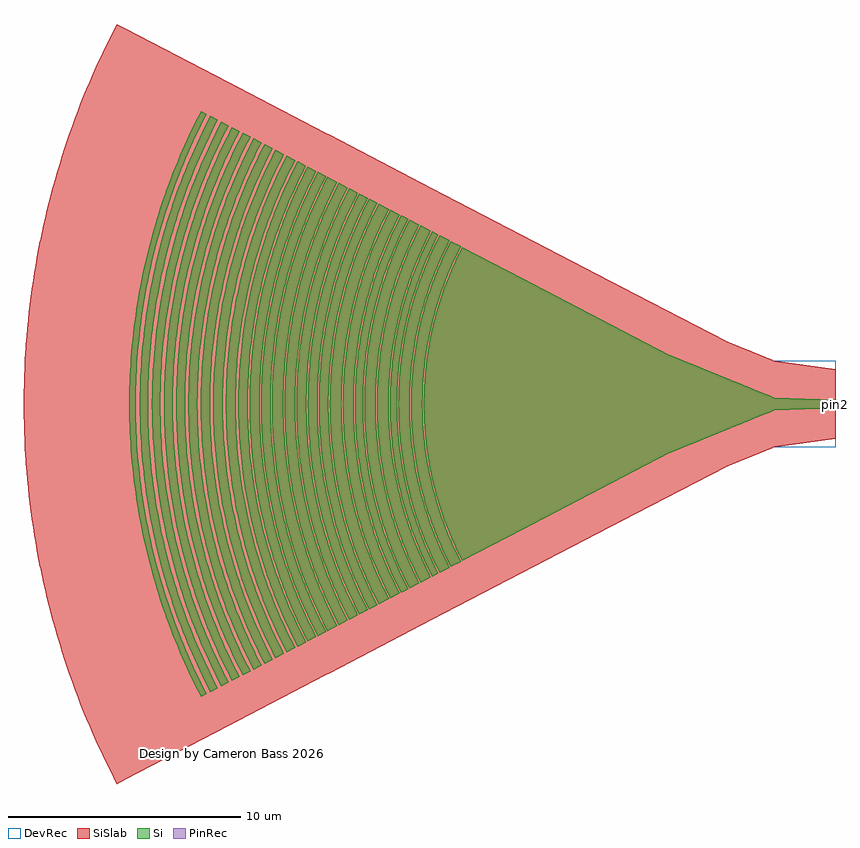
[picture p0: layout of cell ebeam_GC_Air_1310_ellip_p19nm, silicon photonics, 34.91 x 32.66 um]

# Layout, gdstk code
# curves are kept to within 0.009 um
import gdstk
lib = gdstk.Library(unit=1e-6, precision=1e-09)
def P(c, l, *ps):  # polygons
    for p in ps: c.add(gdstk.Polygon(p, *l))
Si = (1, 0)
PinRec = (1, 10)
SiSlab = (2, 0)
DevRec = (68, 0)

ebeam_gc_air_1310_ellip_ = lib.new_cell('ebeam_GC_Air_1310_ellip_p19nm')
P(ebeam_gc_air_1310_ellip_, Si, [(-16.056,-6.742),(-16.427,-5.977),(-16.802,-5.06),(-17.031,-4.39),(-17.296,-3.436),(-17.473,-2.604),(-17.6,-1.765),(-17.678,-0.919),(-17.706,-0.071),(-17.686,0.778),(-17.616,1.625),(-17.497,2.465),(-17.33,3.298),(-17.113,4.119),(-16.802,5.06),(-16.427,5.977),(-16.056,6.742),(-7.085,2.075),(-3.27,0.519),(-2.87,0.368),(-2.671,0.275),(0,0.175),(0,-0.175),(-2.671,-0.275),(-2.854,-0.361),(-3.208,-0.494),(-7.13,-2.094)],
  [(-16.548,-6.997),(-16.93,-6.207),(-17.268,-5.392),(-17.557,-4.559),(-17.797,-3.711),(-17.989,-2.85),(-18.129,-1.978),(-18.228,-0.955),(-18.258,-0.073),(-18.237,0.808),(-18.164,1.687),(-18.041,2.56),(-17.867,3.425),(-17.6,4.418),(-17.319,5.255),(-17.161,5.666),(-16.93,6.207),(-16.548,6.998),(-16.111,6.77),(-16.484,6.002),(-16.81,5.214),(-17.09,4.409),(-17.323,3.588),(-17.533,2.617),(-17.661,1.773),(-17.748,0.782),(-17.768,0.071),(-17.748,-0.782),(-17.661,-1.773),(-17.533,-2.616),(-17.357,-3.451),(-17.132,-4.274),(-16.86,-5.081),(-16.484,-6.002),(-16.111,-6.77)],
  [(-17.029,-7.248),(-17.424,-6.431),(-17.774,-5.587),(-18.073,-4.724),(-18.322,-3.845),(-18.52,-2.953),(-18.665,-2.051),(-18.758,-1.141),(-18.785,-0.685),(-18.799,-0.076),(-18.777,0.837),(-18.702,1.748),(-18.574,2.652),(-18.394,3.548),(-18.118,4.578),(-17.774,5.587),(-17.424,6.431),(-17.029,7.248),(-16.602,7.026),(-16.864,6.501),(-17.047,6.097),(-17.377,5.276),(-17.66,4.436),(-17.894,3.582),(-18.076,2.717),(-18.209,1.841),(-18.29,0.959),(-18.32,0.074),(-18.299,-0.811),(-18.209,-1.841),(-18.076,-2.717),(-17.894,-3.582),(-17.66,-4.436),(-17.377,-5.276),(-17.047,-6.097),(-16.864,-6.501),(-16.602,-7.026)],
  [(-17.349,-7.415),(-17.753,-6.579),(-18.111,-5.716),(-18.417,-4.833),(-18.672,-3.934),(-18.875,-3.021),(-18.956,-2.56),(-19.043,-1.943),(-19.129,-1.012),(-19.16,-0.078),(-19.138,0.857),(-19.061,1.788),(-18.93,2.714),(-18.746,3.63),(-18.508,4.534),(-18.37,4.981),(-18.166,5.57),(-17.998,6.006),(-17.753,6.58),(-17.349,7.415),(-17.084,7.276),(-17.543,6.316),(-17.937,5.323),(-18.086,4.888),(-18.305,4.156),(-18.455,3.563),(-18.551,3.114),(-18.684,2.361),(-18.78,1.603),(-18.839,0.841),(-18.861,0.077),(-18.846,-0.688),(-18.795,-1.45),(-18.684,-2.361),(-18.551,-3.114),(-18.455,-3.563),(-18.305,-4.155),(-18.178,-4.596),(-17.988,-5.178),(-17.776,-5.751),(-17.543,-6.316),(-17.084,-7.276)],
  [(-17.845,-7.673),(-18.262,-6.809),(-18.515,-6.216),(-18.689,-5.765),(-18.997,-4.848),(-19.251,-3.914),(-19.452,-2.967),(-19.596,-2.011),(-19.685,-1.047),(-19.718,-0.08),(-19.694,0.887),(-19.615,1.851),(-19.48,2.809),(-19.289,3.757),(-19.131,4.383),(-18.997,4.848),(-18.689,5.765),(-18.515,6.216),(-18.262,6.81),(-17.845,7.673),(-17.404,7.443),(-17.81,6.605),(-18.168,5.738),(-18.477,4.851),(-18.733,3.949),(-18.964,2.878),(-19.104,1.951),(-19.168,1.328),(-19.2,0.86),(-19.222,0.078),(-19.2,-0.86),(-19.168,-1.328),(-19.104,-1.951),(-18.964,-2.878),(-18.77,-3.797),(-18.523,-4.703),(-18.38,-5.149),(-18.168,-5.738),(-17.81,-6.605),(-17.404,-7.443)],
  [(-18.325,-7.923),(-18.756,-7.031),(-19.017,-6.418),(-19.196,-5.953),(-19.515,-5.006),(-19.777,-4.042),(-19.984,-3.064),(-20.134,-2.076),(-20.225,-1.082),(-20.259,-0.083),(-20.235,0.916),(-20.153,1.911),(-20.041,2.736),(-19.954,3.229),(-19.817,3.88),(-19.515,5.006),(-19.196,5.953),(-19.017,6.418),(-18.756,7.032),(-18.325,7.923),(-17.902,7.702),(-18.321,6.835),(-18.513,6.39),(-18.748,5.786),(-19.058,4.866),(-19.314,3.929),(-19.514,2.978),(-19.659,2.019),(-19.749,1.052),(-19.782,0.081),(-19.758,-0.89),(-19.678,-1.858),(-19.542,-2.82),(-19.314,-3.928),(-19.058,-4.865),(-18.748,-5.786),(-18.386,-6.688),(-17.902,-7.702)],
  [(-18.687,-8.111),(-19.128,-7.198),(-19.52,-6.253),(-19.855,-5.287),(-20.047,-4.633),(-20.174,-4.137),(-20.386,-3.137),(-20.539,-2.125),(-20.633,-1.107),(-20.667,-0.085),(-20.643,0.937),(-20.559,1.957),(-20.416,2.969),(-20.214,3.972),(-19.954,4.961),(-19.803,5.45),(-19.579,6.094),(-19.197,7.043),(-18.986,7.508),(-18.687,8.111),(-18.38,7.952),(-18.814,7.057),(-19.196,6.131),(-19.526,5.183),(-19.799,4.219),(-19.914,3.731),(-20.046,3.075),(-20.196,2.085),(-20.288,1.086),(-20.322,0.084),(-20.298,-0.919),(-20.233,-1.752),(-20.128,-2.581),(-19.983,-3.404),(-19.878,-3.894),(-19.714,-4.542),(-19.526,-5.183),(-19.368,-5.66),(-18.947,-6.751),(-18.674,-7.361),(-18.38,-7.951)],
  [(-19.145,-8.35),(-19.599,-7.411),(-20.002,-6.438),(-20.347,-5.443),(-20.634,-4.43),(-20.862,-3.403),(-21.03,-2.362),(-21.108,-1.665),(-21.148,-1.14),(-21.184,-0.088),(-21.174,0.615),(-21.148,1.14),(-21.052,2.188),(-20.894,3.229),(-20.676,4.259),(-20.399,5.276),(-20.064,6.274),(-19.67,7.251),(-19.453,7.729),(-19.145,8.35),(-18.743,8.14),(-19.187,7.224),(-19.454,6.594),(-19.638,6.115),(-19.966,5.142),(-20.237,4.153),(-20.448,3.149),(-20.602,2.134),(-20.696,1.112),(-20.731,0.086),(-20.706,-0.941),(-20.622,-1.964),(-20.478,-2.98),(-20.384,-3.484),(-20.237,-4.153),(-19.966,-5.142),(-19.638,-6.115),(-19.256,-7.067),(-19.044,-7.535),(-18.743,-8.14)],
  [(-19.644,-8.61),(-20.11,-7.644),(-20.526,-6.641),(-20.881,-5.615),(-21.177,-4.57),(-21.412,-3.51),(-21.585,-2.437),(-21.695,-1.356),(-21.726,-0.815),(-21.744,-0.09),(-21.718,0.995),(-21.628,2.078),(-21.477,3.153),(-21.263,4.218),(-21.132,4.745),(-20.935,5.442),(-20.589,6.471),(-20.183,7.479),(-19.959,7.973),(-19.644,8.61),(-19.201,8.379),(-19.657,7.436),(-20.061,6.46),(-20.241,5.964),(-20.46,5.294),(-20.738,4.275),(-20.956,3.24),(-21.114,2.197),(-21.211,1.144),(-21.247,0.088),(-21.242,-0.44),(-21.211,-1.144),(-21.114,-2.196),(-20.956,-3.24),(-20.738,-4.275),(-20.46,-5.293),(-20.241,-5.964),(-20.061,-6.46),(-19.657,-7.436),(-19.202,-8.379)],
  [(-20.059,-8.826),(-20.538,-7.834),(-20.964,-6.806),(-21.329,-5.754),(-21.632,-4.683),(-21.873,-3.597),(-22.05,-2.497),(-22.163,-1.39),(-22.195,-0.835),(-22.213,-0.093),(-22.186,1.02),(-22.095,2.129),(-21.939,3.231),(-21.72,4.322),(-21.436,5.399),(-21.214,6.107),(-21.029,6.632),(-20.613,7.665),(-20.383,8.171),(-20.059,8.826),(-19.703,8.64),(-20.172,7.67),(-20.588,6.663),(-20.946,5.634),(-21.243,4.585),(-21.478,3.521),(-21.572,2.985),(-21.674,2.266),(-21.774,1.18),(-21.811,0.091),(-21.785,-0.999),(-21.695,-2.085),(-21.627,-2.625),(-21.511,-3.343),(-21.286,-4.409),(-20.999,-5.461),(-20.652,-6.493),(-20.246,-7.503),(-19.942,-8.164),(-19.703,-8.64)],
  [(-20.479,-9.045),(-20.971,-8.027),(-21.198,-7.503),(-21.408,-6.973),(-21.781,-5.896),(-22.092,-4.799),(-22.339,-3.685),(-22.52,-2.56),(-22.587,-1.993),(-22.649,-1.235),(-22.688,-0.095),(-22.66,1.045),(-22.566,2.182),(-22.407,3.311),(-22.182,4.429),(-21.892,5.532),(-21.664,6.257),(-21.474,6.795),(-21.048,7.853),(-20.731,8.543),(-20.479,9.045),(-20.115,8.855),(-20.597,7.859),(-21.023,6.828),(-21.389,5.773),(-21.599,5.059),(-21.739,4.517),(-21.969,3.426),(-22.136,2.322),(-22.238,1.209),(-22.276,0.093),(-22.249,-1.023),(-22.195,-1.766),(-22.136,-2.321),(-21.969,-3.426),(-21.739,-4.517),(-21.444,-5.596),(-21.214,-6.303),(-21.023,-6.827),(-20.597,-7.859),(-20.116,-8.855)],
  [(-20.914,-9.271),(-21.419,-8.225),(-21.866,-7.146),(-22.249,-6.042),(-22.568,-4.918),(-22.703,-4.348),(-22.857,-3.585),(-23.032,-2.429),(-23.139,-1.265),(-23.178,-0.097),(-23.15,1.071),(-23.111,1.655),(-23.054,2.236),(-22.891,3.393),(-22.66,4.538),(-22.363,5.669),(-22.129,6.412),(-21.935,6.964),(-21.498,8.048),(-21.172,8.755),(-20.914,9.271),(-20.539,9.075),(-21.034,8.052),(-21.471,6.995),(-21.847,5.914),(-22.011,5.367),(-22.205,4.628),(-22.441,3.51),(-22.612,2.379),(-22.717,1.239),(-22.756,0.096),(-22.745,-0.667),(-22.717,-1.239),(-22.612,-2.378),(-22.441,-3.51),(-22.205,-4.628),(-21.903,-5.733),(-21.538,-6.817),(-21.26,-7.527),(-21.034,-8.052),(-20.539,-9.075)],
  [(-21.365,-9.506),(-21.716,-8.798),(-21.963,-8.252),(-22.196,-7.699),(-22.411,-7.141),(-22.793,-6.005),(-23.108,-4.849),(-23.357,-3.676),(-23.536,-2.491),(-23.646,-1.297),(-23.675,-0.699),(-23.686,-0.1),(-23.681,0.499),(-23.657,1.098),(-23.617,1.697),(-23.559,2.293),(-23.484,2.888),(-23.391,3.479),(-23.282,4.069),(-23.155,4.654),(-22.959,5.429),(-22.793,6.004),(-22.411,7.14),(-22.196,7.7),(-21.963,8.253),(-21.716,8.798),(-21.365,9.506),(-20.969,9.299),(-21.477,8.251),(-21.925,7.168),(-22.31,6.06),(-22.478,5.499),(-22.676,4.742),(-22.918,3.596),(-23.094,2.437),(-23.201,1.27),(-23.241,0.098),(-23.213,-1.074),(-23.156,-1.854),(-23.094,-2.437),(-22.918,-3.596),(-22.676,-4.743),(-22.478,-5.499),(-22.31,-6.06),(-21.925,-7.167),(-21.477,-8.251),(-20.969,-9.299)],
  [(-21.853,-9.759),(-22.123,-9.22),(-22.382,-8.662),(-22.627,-8.097),(-22.853,-7.525),(-23.257,-6.363),(-23.592,-5.179),(-23.778,-4.379),(-23.896,-3.775),(-23.997,-3.168),(-24.08,-2.558),(-24.193,-1.332),(-24.223,-0.718),(-24.234,-0.102),(-24.205,1.128),(-24.104,2.355),(-23.997,3.168),(-23.896,3.775),(-23.778,4.379),(-23.641,4.979),(-23.488,5.576),(-23.317,6.166),(-23.13,6.753),(-22.925,7.334),(-22.627,8.097),(-22.382,8.663),(-21.853,9.76),(-21.42,9.534),(-21.686,9.006),(-21.94,8.46),(-22.399,7.35),(-22.605,6.785),(-22.794,6.214),(-23.122,5.058),(-23.381,3.884),(-23.573,2.697),(-23.695,1.501),(-23.73,0.901),(-23.749,0.1),(-23.72,-1.102),(-23.662,-1.901),(-23.598,-2.499),(-23.418,-3.687),(-23.17,-4.864),(-22.853,-6.024),(-22.47,-7.162),(-22.253,-7.723),(-21.94,-8.46),(-21.686,-9.006),(-21.42,-9.534)],
  [(-22.267,-9.975),(-22.808,-8.853),(-23.058,-8.275),(-23.29,-7.691),(-23.572,-6.901),(-23.764,-6.303),(-24.095,-5.089),(-24.234,-4.476),(-24.355,-3.858),(-24.458,-3.238),(-24.543,-2.614),(-24.61,-1.989),(-24.659,-1.362),(-24.689,-0.734),(-24.701,-0.105),(-24.671,1.153),(-24.568,2.406),(-24.489,3.031),(-24.392,3.652),(-24.277,4.271),(-24.095,5.089),(-23.882,5.9),(-23.702,6.503),(-23.29,7.691),(-23.058,8.276),(-22.808,8.854),(-22.267,9.975),(-21.909,9.788),(-22.268,9.062),(-22.523,8.5),(-22.837,7.74),(-23.054,7.161),(-23.254,6.578),(-23.493,5.791),(-23.653,5.194),(-23.838,4.392),(-23.957,3.786),(-24.058,3.177),(-24.187,2.157),(-24.267,1.131),(-24.297,0.103),(-24.277,-0.925),(-24.207,-1.952),(-24.088,-2.974),(-23.879,-4.19),(-23.75,-4.794),(-23.548,-5.592),(-23.377,-6.185),(-23.122,-6.968),(-22.837,-7.739),(-22.604,-8.311),(-22.268,-9.062),(-21.909,-9.788)],
  [(-22.701,-10.201),(-22.985,-9.635),(-23.256,-9.052),(-23.512,-8.461),(-23.749,-7.864),(-24.17,-6.649),(-24.412,-5.826),(-24.572,-5.203),(-24.715,-4.576),(-24.838,-3.945),(-24.944,-3.311),(-25.031,-2.673),(-25.099,-2.034),(-25.149,-1.392),(-25.18,-0.751),(-25.192,-0.107),(-25.186,0.536),(-25.161,1.179),(-25.118,1.821),(-25.056,2.46),(-24.975,3.099),(-24.876,3.734),(-24.715,4.576),(-24.572,5.203),(-24.412,5.826),(-24.233,6.445),(-23.824,7.664),(-23.593,8.263),(-23.343,8.857),(-22.985,9.635),(-22.701,10.201),(-22.325,10.005),(-22.694,9.262),(-22.955,8.687),(-23.276,7.91),(-23.497,7.32),(-23.766,6.522),(-23.946,5.918),(-24.11,5.308),(-24.299,4.489),(-24.491,3.456),(-24.634,2.414),(-24.725,1.366),(-24.756,0.736),(-24.768,0.105),(-24.748,-0.946),(-24.711,-1.576),(-24.656,-2.204),(-24.524,-3.247),(-24.341,-4.283),(-24.209,-4.9),(-24.003,-5.715),(-23.766,-6.522),(-23.497,-7.32),(-23.276,-7.91),(-22.955,-8.687),(-22.694,-9.262),(-22.325,-10.005)],
  [(-23.133,-10.426),(-23.426,-9.842),(-23.703,-9.247),(-23.964,-8.643),(-24.207,-8.033),(-24.638,-6.792),(-24.826,-6.162),(-24.996,-5.528),(-25.148,-4.889),(-25.281,-4.246),(-25.395,-3.598),(-25.49,-2.948),(-25.566,-2.296),(-25.638,-1.422),(-25.67,-0.767),(-25.682,-0.109),(-25.676,0.547),(-25.651,1.204),(-25.606,1.859),(-25.543,2.513),(-25.46,3.166),(-25.359,3.814),(-25.239,4.461),(-25.1,5.102),(-24.765,6.373),(-24.571,7.001),(-24.284,7.829),(-24.047,8.441),(-23.792,9.047),(-23.521,9.645),(-23.133,10.426),(-22.774,10.239),(-23.152,9.474),(-23.419,8.886),(-23.748,8.092),(-23.974,7.488),(-24.249,6.672),(-24.434,6.054),(-24.653,5.222),(-24.795,4.592),(-24.992,3.535),(-25.085,2.896),(-25.16,2.255),(-25.243,1.183),(-25.275,0.108),(-25.254,-0.968),(-25.181,-2.041),(-25.112,-2.683),(-25.025,-3.322),(-24.838,-4.381),(-24.653,-5.222),(-24.492,-5.846),(-24.313,-6.466),(-24.046,-7.285),(-23.748,-8.092),(-23.504,-8.689),(-23.152,-9.474),(-22.773,-10.238)],
  [(-23.602,-10.671),(-23.905,-10.067),(-24.189,-9.459),(-24.456,-8.841),(-24.704,-8.217),(-24.934,-7.585),(-25.145,-6.948),(-25.338,-6.303),(-25.512,-5.655),(-25.668,-5),(-25.803,-4.343),(-25.955,-3.459),(-26.046,-2.793),(-26.117,-2.125),(-26.169,-1.455),(-26.202,-0.784),(-26.215,-0.112),(-26.208,0.56),(-26.182,1.232),(-26.137,1.903),(-26.072,2.571),(-25.987,3.238),(-25.883,3.902),(-25.76,4.563),(-25.618,5.219),(-25.456,5.872),(-25.276,6.519),(-25.077,7.161),(-24.783,8.008),(-24.541,8.634),(-24.28,9.254),(-24.002,9.866),(-23.602,10.671),(-23.231,10.477),(-23.527,9.889),(-23.895,9.089),(-24.15,8.481),(-24.463,7.659),(-24.677,7.034),(-24.934,6.192),(-25.158,5.34),(-25.303,4.697),(-25.505,3.615),(-25.654,2.525),(-25.717,1.868),(-25.762,1.21),(-25.794,0.11),(-25.773,-0.99),(-25.735,-1.648),(-25.677,-2.306),(-25.539,-3.398),(-25.347,-4.481),(-25.209,-5.127),(-24.993,-5.98),(-24.81,-6.613),(-24.537,-7.451),(-24.311,-8.071),(-23.982,-8.888),(-23.622,-9.69),(-23.232,-10.477)],
  [(-24.085,-10.922),(-24.398,-10.299),(-24.688,-9.676),(-24.962,-9.044),(-25.216,-8.406),(-25.451,-7.76),(-25.735,-6.889),(-25.926,-6.228),(-26.097,-5.563),(-26.25,-4.892),(-26.383,-4.217),(-26.496,-3.539),(-26.589,-2.857),(-26.662,-2.174),(-26.715,-1.488),(-26.749,-0.802),(-26.762,-0.114),(-26.755,0.573),(-26.729,1.26),(-26.662,2.174),(-26.589,2.858),(-26.496,3.539),(-26.383,4.217),(-26.25,4.892),(-26.097,5.562),(-25.926,6.228),(-25.667,7.108),(-25.451,7.76),(-25.216,8.406),(-24.962,9.045),(-24.688,9.676),(-24.398,10.299),(-24.085,10.922),(-23.719,10.731),(-24.025,10.123),(-24.402,9.304),(-24.747,8.472),(-24.984,7.84),(-25.272,6.985),(-25.466,6.338),(-25.696,5.466),(-25.844,4.808),(-26.051,3.701),(-26.204,2.585),(-26.302,1.463),(-26.335,0.788),(-26.348,0.113),(-26.326,-1.013),(-26.286,-1.688),(-26.228,-2.361),(-26.086,-3.478),(-25.89,-4.587),(-25.696,-5.466),(-25.527,-6.121),(-25.339,-6.771),(-25.059,-7.627),(-24.747,-8.472),(-24.491,-9.098),(-24.122,-9.919),(-23.719,-10.731)],
  [(-24.555,-11.167),(-24.877,-10.527),(-25.174,-9.89),(-25.454,-9.244),(-25.713,-8.592),(-25.954,-7.931),(-26.175,-7.265),(-26.439,-6.366),(-26.615,-5.686),(-26.771,-5),(-26.907,-4.31),(-27.022,-3.617),(-27.117,-2.921),(-27.192,-2.222),(-27.247,-1.521),(-27.281,-0.82),(-27.294,-0.117),(-27.281,0.82),(-27.247,1.522),(-27.192,2.223),(-27.117,2.921),(-27.022,3.617),(-26.907,4.31),(-26.771,5),(-26.615,5.686),(-26.439,6.366),(-26.175,7.265),(-25.954,7.931),(-25.713,8.592),(-25.454,9.245),(-25.174,9.89),(-24.877,10.527),(-24.555,11.167),(-24.2,10.982),(-24.616,10.147),(-24.903,9.517),(-25.17,8.88),(-25.498,8.019),(-25.793,7.145),(-25.991,6.484),(-26.171,5.815),(-26.378,4.918),(-26.59,3.786),(-26.746,2.644),(-26.847,1.497),(-26.88,0.806),(-26.893,0.115),(-26.871,-1.036),(-26.793,-2.185),(-26.659,-3.33),(-26.552,-4.013),(-26.425,-4.692),(-26.226,-5.592),(-26.053,-6.261),(-25.861,-6.926),(-25.575,-7.802),(-25.255,-8.666),(-24.903,-9.517),(-24.616,-10.147),(-24.2,-10.982)],
  [(-25.028,-11.413),(-25.358,-10.757),(-25.662,-10.107),(-25.947,-9.447),(-26.213,-8.78),(-26.458,-8.105),(-26.684,-7.424),(-26.891,-6.735),(-27.077,-6.042),(-27.243,-5.343),(-27.389,-4.64),(-27.513,-3.933),(-27.618,-3.223),(-27.701,-2.509),(-27.764,-1.793),(-27.815,-0.838),(-27.829,-0.12),(-27.822,0.598),(-27.794,1.316),(-27.745,2.033),(-27.676,2.747),(-27.585,3.46),(-27.433,4.404),(-27.294,5.11),(-27.134,5.809),(-26.955,6.505),(-26.755,7.196),(-26.536,7.879),(-26.213,8.78),(-25.947,9.447),(-25.662,10.107),(-25.358,10.757),(-25.028,11.413),(-24.68,11.232),(-25.005,10.588),(-25.4,9.731),(-25.673,9.08),(-26.009,8.199),(-26.238,7.531),(-26.513,6.63),(-26.697,5.946),(-26.909,5.029),(-27.125,3.871),(-27.285,2.704),(-27.354,2),(-27.402,1.295),(-27.436,0.118),(-27.429,-0.589),(-27.402,-1.295),(-27.31,-2.469),(-27.162,-3.638),(-27.046,-4.335),(-26.909,-5.029),(-26.697,-5.946),(-26.513,-6.629),(-26.238,-7.531),(-26.009,-8.199),(-25.673,-9.08),(-25.4,-9.731),(-25.005,-10.588),(-24.68,-11.231)],
  [(-25.49,-11.653),(-25.827,-10.983),(-26.137,-10.319),(-26.428,-9.645),(-26.699,-8.964),(-26.95,-8.275),(-27.181,-7.58),(-27.392,-6.877),(-27.582,-6.169),(-27.804,-5.217),(-27.945,-4.498),(-28.066,-3.774),(-28.165,-3.047),(-28.243,-2.319),(-28.3,-1.587),(-28.335,-0.856),(-28.35,-0.122),(-28.342,0.611),(-28.314,1.344),(-28.264,2.075),(-28.193,2.805),(-28.101,3.533),(-27.988,4.256),(-27.853,4.978),(-27.698,5.694),(-27.521,6.406),(-27.254,7.346),(-27.03,8.044),(-26.785,8.736),(-26.521,9.419),(-26.137,10.319),(-25.827,10.983),(-25.49,11.653),(-25.154,11.478),(-25.591,10.602),(-25.89,9.944),(-26.259,9.055),(-26.513,8.378),(-26.821,7.466),(-27.028,6.775),(-27.274,5.844),(-27.433,5.139),(-27.654,3.956),(-27.759,3.24),(-27.843,2.524),(-27.936,1.324),(-27.971,0.121),(-27.948,-1.083),(-27.906,-1.804),(-27.843,-2.523),(-27.759,-3.24),(-27.654,-3.955),(-27.433,-5.138),(-27.274,-5.842),(-27.028,-6.774),(-26.821,-7.466),(-26.513,-8.378),(-26.259,-9.055),(-25.89,-9.944),(-25.591,-10.602),(-25.154,-11.478)],
  [(-25.955,-11.895),(-26.299,-11.211),(-26.616,-10.533),(-26.913,-9.846),(-27.19,-9.151),(-27.446,-8.447),(-27.682,-7.737),(-27.897,-7.02),(-28.091,-6.297),(-28.264,-5.569),(-28.462,-4.59),(-28.584,-3.852),(-28.686,-3.11),(-28.766,-2.367),(-28.824,-1.62),(-28.86,-0.873),(-28.874,-0.125),(-28.867,0.623),(-28.838,1.372),(-28.787,2.119),(-28.715,2.863),(-28.621,3.606),(-28.505,4.345),(-28.368,5.081),(-28.209,5.812),(-27.964,6.78),(-27.756,7.499),(-27.527,8.211),(-27.278,8.917),(-27.008,9.615),(-26.616,10.533),(-26.299,11.211),(-25.955,11.896),(-25.624,11.723),(-25.964,11.05),(-26.376,10.156),(-26.661,9.476),(-27.012,8.557),(-27.251,7.859),(-27.539,6.919),(-27.73,6.206),(-27.952,5.248),(-28.177,4.04),(-28.344,2.822),(-28.416,2.087),(-28.466,1.352),(-28.502,0.123),(-28.494,-0.615),(-28.466,-1.352),(-28.37,-2.577),(-28.284,-3.31),(-28.177,-4.039),(-27.952,-5.248),(-27.789,-5.968),(-27.539,-6.918),(-27.251,-7.859),(-27.012,-8.557),(-26.661,-9.476),(-26.376,-10.155),(-25.964,-11.049),(-25.624,-11.723)],
  [(-26.414,-12.134),(-26.765,-11.436),(-27.088,-10.745),(-27.391,-10.043),(-27.673,-9.334),(-27.935,-8.616),(-28.175,-7.892),(-28.394,-7.16),(-28.592,-6.424),(-28.769,-5.68),(-28.924,-4.933),(-29.057,-4.181),(-29.167,-3.426),(-29.256,-2.667),(-29.323,-1.906),(-29.377,-0.891),(-29.392,-0.127),(-29.384,0.636),(-29.355,1.399),(-29.303,2.16),(-29.229,2.921),(-29.133,3.678),(-29.015,4.432),(-28.875,5.183),(-28.713,5.929),(-28.463,6.916),(-28.251,7.65),(-28.017,8.376),(-27.763,9.096),(-27.488,9.808),(-27.088,10.745),(-26.765,11.436),(-26.414,12.134),(-26.093,11.967),(-26.44,11.28),(-26.759,10.597),(-27.057,9.906),(-27.424,8.971),(-27.675,8.261),(-27.978,7.304),(-28.243,6.335),(-28.416,5.603),(-28.569,4.865),(-28.7,4.124),(-28.87,2.881),(-28.98,1.631),(-29.016,0.878),(-29.031,0.126),(-29.023,-0.628),(-28.994,-1.38),(-28.897,-2.631),(-28.809,-3.379),(-28.7,-4.124),(-28.469,-5.357),(-28.243,-6.335),(-28.048,-7.062),(-27.831,-7.783),(-27.51,-8.735),(-27.245,-9.44),(-26.861,-10.367),(-26.549,-11.053),(-26.093,-11.967)],
  [(-26.884,-12.379),(-27.234,-11.681),(-27.564,-10.975),(-27.874,-10.259),(-28.253,-9.291),(-28.512,-8.556),(-28.75,-7.814),(-28.966,-7.064),(-29.161,-6.309),(-29.334,-5.548),(-29.484,-4.783),(-29.612,-4.014),(-29.718,-3.241),(-29.8,-2.466),(-29.861,-1.688),(-29.899,-0.91),(-29.914,-0.13),(-29.899,0.91),(-29.861,1.688),(-29.8,2.466),(-29.718,3.241),(-29.612,4.014),(-29.484,4.783),(-29.334,5.549),(-29.161,6.308),(-28.966,7.064),(-28.75,7.814),(-28.512,8.556),(-28.253,9.292),(-27.874,10.259),(-27.564,10.975),(-27.234,11.682),(-26.884,12.38),(-26.56,12.211),(-27.025,11.278),(-27.344,10.578),(-27.736,9.632),(-28.006,8.912),(-28.334,7.942),(-28.554,7.206),(-28.754,6.464),(-28.985,5.466),(-29.22,4.208),(-29.394,2.939),(-29.468,2.174),(-29.52,1.408),(-29.558,0.128),(-29.533,-1.152),(-29.488,-1.919),(-29.421,-2.684),(-29.26,-3.954),(-29.133,-4.713),(-28.985,-5.466),(-28.754,-6.463),(-28.554,-7.206),(-28.334,-7.942),(-28.006,-8.912),(-27.736,-9.632),(-27.344,-10.578),(-27.025,-11.278),(-26.56,-12.21)],
  [(-27.282,-12.587),(-27.646,-11.861),(-27.981,-11.144),(-28.295,-10.417),(-28.587,-9.681),(-28.844,-8.978),(-29.107,-8.186),(-29.334,-7.427),(-29.539,-6.663),(-29.722,-5.892),(-29.882,-5.117),(-30.02,-4.336),(-30.135,-3.553),(-30.252,-2.504),(-30.308,-1.795),(-30.352,-0.924),(-30.367,-0.132),(-30.359,0.659),(-30.329,1.451),(-30.275,2.242),(-30.168,3.291),(-30.061,4.076),(-29.931,4.857),(-29.778,5.634),(-29.602,6.406),(-29.405,7.173),(-29.185,7.933),(-28.944,8.688),(-28.68,9.435),(-28.395,10.173),(-27.981,11.145),(-27.646,11.862),(-27.282,12.587),(-27.039,12.46),(-27.392,11.758),(-27.724,11.047),(-28.133,10.084),(-28.416,9.351),(-28.678,8.612),(-28.993,7.614),(-29.204,6.857),(-29.392,6.096),(-29.656,4.815),(-29.785,4.04),(-29.891,3.263),(-29.975,2.482),(-30.036,1.7),(-30.074,0.915),(-30.089,0.131),(-30.064,-1.177),(-30.018,-1.961),(-29.949,-2.742),(-29.858,-3.522),(-29.744,-4.299),(-29.608,-5.071),(-29.449,-5.84),(-29.269,-6.604),(-29.066,-7.362),(-28.84,-8.114),(-28.506,-9.105),(-28.23,-9.841),(-27.83,-10.807),(-27.505,-11.522),(-27.039,-12.46)])
P(ebeam_gc_air_1310_ellip_, SiSlab, [(-30.904,-16.329),(-31.366,-15.41),(-31.801,-14.477),(-32.208,-13.533),(-32.588,-12.577),(-32.94,-11.61),(-33.264,-10.634),(-33.559,-9.648),(-33.825,-8.655),(-34.062,-7.654),(-34.27,-6.647),(-34.449,-5.634),(-34.598,-4.616),(-34.717,-3.594),(-34.807,-2.569),(-34.867,-1.543),(-34.9,-0.171),(-34.89,0.857),(-34.85,1.885),(-34.781,2.912),(-34.681,3.935),(-34.552,4.956),(-34.393,5.972),(-34.135,7.319),(-33.907,8.322),(-33.651,9.318),(-33.365,10.307),(-33.051,11.286),(-32.709,12.256),(-32.338,13.216),(-31.94,14.164),(-31.366,15.41),(-30.904,16.329),(-4.744,2.708),(-2.65,1.855),(0,1.5),(0,-1.5),(-2.65,-1.855),(-4.728,-2.7)])
P(ebeam_gc_air_1310_ellip_, DevRec, [(-30.904,-16.329),(-31.366,-15.41),(-31.801,-14.477),(-32.208,-13.533),(-32.588,-12.577),(-32.94,-11.61),(-33.264,-10.634),(-33.559,-9.648),(-33.825,-8.655),(-34.062,-7.654),(-34.27,-6.647),(-34.449,-5.634),(-34.598,-4.616),(-34.717,-3.594),(-34.807,-2.569),(-34.867,-1.543),(-34.9,-0.171),(-34.89,0.857),(-34.85,1.885),(-34.781,2.912),(-34.681,3.935),(-34.552,4.956),(-34.393,5.972),(-34.135,7.319),(-33.907,8.322),(-33.651,9.318),(-33.365,10.307),(-33.051,11.286),(-32.709,12.256),(-32.338,13.216),(-31.94,14.164),(-31.366,15.41),(-30.904,16.329),(-4.744,2.708),(-2.65,1.855),(0,1.855),(0,-1.855),(-2.65,-1.855),(-4.728,-2.7)])
ebeam_gc_air_1310_ellip_.add(gdstk.FlexPath([(-0.01,0),(0.01,0)], 0.35, ends="flush", simple_path=True, layer=1, datatype=10))  # PinRec
ebeam_gc_air_1310_ellip_.add(gdstk.Label('pin2', (0,0), layer=1, texttype=10))
ebeam_gc_air_1310_ellip_.add(gdstk.Label('Design by Cameron Bass 2026', (-25.94,-15.02), layer=10, texttype=0))

lib.write_gds('ebeam_GC_Air_1310_ellip_p19nm.gds')
